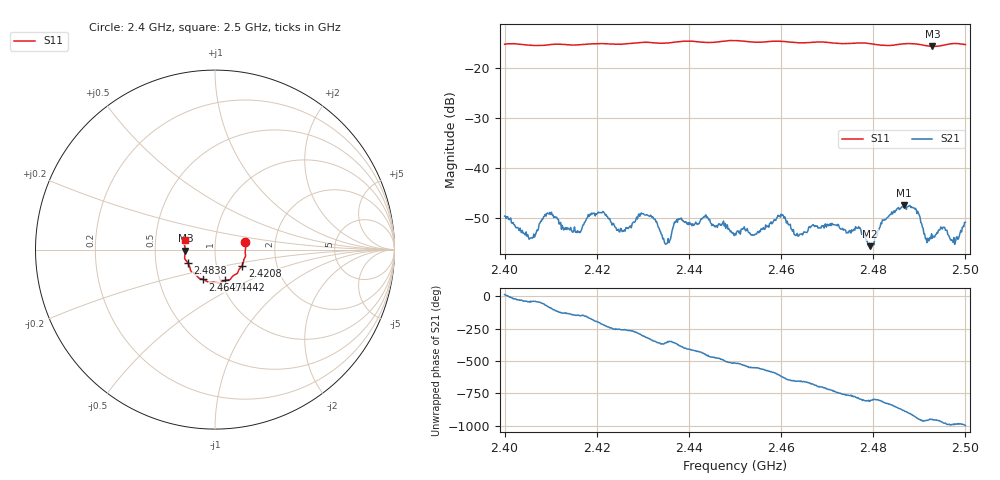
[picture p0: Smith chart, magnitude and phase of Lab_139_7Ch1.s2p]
# Hz S RI R 50
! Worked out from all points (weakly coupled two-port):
!   601 points, 2.4 GHz to 2.5 GHz, reference 50 ohm
!   highest |S21| = -47.57 dB at 2.4867 GHz (marker M1); lowest = -55.7 dB at 2.4793 GHz (marker M2)
!   lowest |S11| = -15.6 dB at 2.4928 GHz (marker M3), VSWR 1.40, Z = 35.8 - j0.436 ohm
!   |S11| at or under -10 dB: start of sweep to end of sweep
!   S12 and S22 are empty: the file has one direction only
!   S11 on the Smith chart (normalised r, x): 2.4 GHz: 1.40, +0.12; 2.4208 GHz: 1.33, -0.24; 2.4442 GHz: 1.05, -0.37; 2.4647 GHz: 0.83, -0.29; 2.4838 GHz: 0.73, -0.11; 2.5 GHz: 0.71, +0.08
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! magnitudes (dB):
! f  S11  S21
! 2.4 GHz  -15.2  -49.7
! 2.4057 GHz  -15.4  -54.1
! 2.4097 GHz  -15.3  -49.3
! 2.4167 GHz  -15.3  -52.5
! 2.4208 GHz  -15.1  -49.0
! 2.4253 GHz  -15.2  -52.3
! 2.4297 GHz  -14.8  -49.1
! 2.4333 GHz  -15.0  -51.9
! 2.4352 GHz  -15.0  -55.2
! 2.4378 GHz  -14.7  -50.3
! 2.4442 GHz  -14.9  -50.2
! 2.45 GHz  -14.5  -53.2
! 2.4598 GHz  -14.6  -49.9
! 2.4647 GHz  -14.9  -53.5
! 2.4667 GHz  -14.8  -51.7
! 2.4767 GHz  -15.0  -52.1
! 2.4793 GHz  -15.1  -55.7
! 2.4833 GHz  -15.5  -49.8
! 2.4838 GHz  -15.4  -49.4
! 2.4867 GHz  -15.1  -47.6
! 2.4928 GHz  -15.6  -54.1
! 2.5 GHz  -15.3  -50.9
